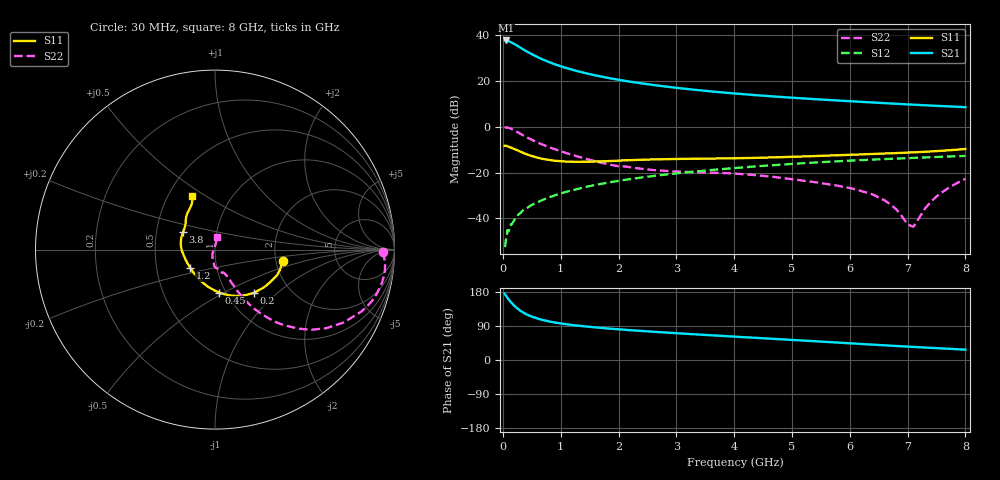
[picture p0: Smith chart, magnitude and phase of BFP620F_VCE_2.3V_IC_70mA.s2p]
! Infineon Technologies  Discrete & RF Semiconductors
! BFP620F
! VCE =  2.3 V,  IC =  70 mA
! Common Emitter S-Parameters:  Dec 2014
# GHz  S  MA  R  50
!  f  S11  S21  S12  S22
! GHz  MAG  ANG  MAG  ANG  MAG  ANG  MAG  ANG
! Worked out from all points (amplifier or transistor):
!   95 points, 30 MHz to 8 GHz, reference 50 ohm
!   highest |S21| = 37.4 dB at 50 MHz (marker M1)
!   |S21| within 3 dB of that: start of sweep to 294.8 MHz
!   unconditionally stable (mu >= 1): 1.655 GHz to end of sweep
!   at 300 MHz: K = 0.56, MSG = 36.0 dB, |S12| = -37.7 dB
!   at 3.3 GHz: K = 1.04, MAG = 16.6 dB, |S12| = -19.6 dB
!   at 8 GHz: K = 1.05, MAG = 9.2 dB, |S12| = -12.8 dB
!   S11 on the Smith chart (normalised r, x): 30 MHz: 2.18, -0.32; 200 MHz: 1.33, -0.72; 450 MHz: 0.93, -0.47; 1.2 GHz: 0.74, -0.16; 3.8 GHz: 0.69, +0.14; 8 GHz: 0.66, +0.44
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0.03  0.3828 -9.5  74.3 174.9  0.0026 95.3  0.9353 -0.8
0.05  0.3793 -14.1  74.48 170.5  0.0033 108.8  0.9514 -4.9
0.08  0.3748 -22.4  73.41 164.0  0.0056 86.9  0.9485 -11.3
0.12  0.3545 -31.7  70.03 156.1  0.0062 88.2  0.9183 -18.4
0.15  0.3438 -37.8  67.36 150.8  0.0074 79.1  0.8851 -23.0
0.2  0.3244 -48.0  62.12 142.8  0.0093 75.0  0.8222 -29.7
0.25  0.3041 -56.9  57.07 136.0  0.0116 75.7  0.7593 -35.2
0.3  0.2853 -64.9  52.25 130.3  0.013 74.7  0.6993 -39.7
0.35  0.2675 -72.4  47.77 125.4  0.0151 74.6  0.644 -43.2
0.45  0.2401 -84.8  40.47 117.6  0.018 73.1  0.5528 -48.6
0.6  0.2102 -101.1  32.31 109.3  0.0226 73.8  0.4491 -53.9
0.7  0.1967 -109.8  28.35 105.2  0.0257 73.2  0.3983 -56.3
0.9  0.18 -125.2  22.58 98.9  0.032 73.2  0.3202 -59.5
1.2  0.1718 -143.6  17.18 92.3  0.0412 72.7  0.2425 -62.2
1.4  0.1716 -153.2  14.79 89.0  0.0474 71.9  0.2047 -63.5
1.9  0.1784 -171.6  10.94 82.2  0.0628 69.5  0.1439 -67.9
2.7  0.1937 169.6  7.725 73.6  0.087 64.9  0.1107 -80.4
3.8  0.2023 151.6  5.515 63.5  0.119 58.2  0.0976 -90.4
4.1  0.2052 147.6  5.125 60.8  0.1276 56.4  0.0931 -91.6
5.4  0.228 135.6  3.939 49.5  0.1649 47.7  0.0617 -100.1
6.7  0.2613 124.5  3.177 37.9  0.1982 38.5  0.0204 -128.2
8  0.3249 113.0  2.638 27.3  0.2296 29.7  0.0728 80.6
